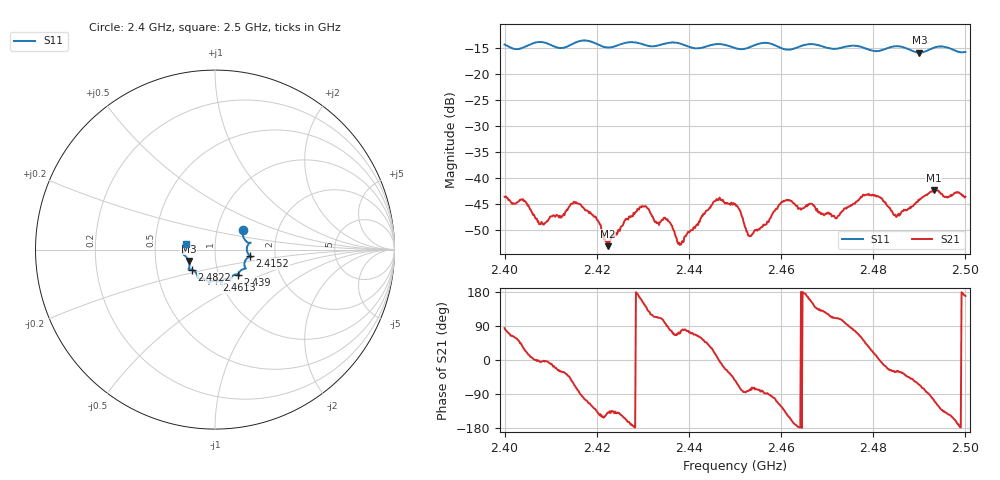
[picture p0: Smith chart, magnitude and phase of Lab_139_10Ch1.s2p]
# Hz S RI R 50
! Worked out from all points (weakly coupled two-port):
!   601 points, 2.4 GHz to 2.5 GHz, reference 50 ohm
!   highest |S21| = -42.28 dB at 2.4932 GHz (marker M1); lowest = -53.0 dB at 2.4223 GHz (marker M2)
!   lowest |S11| = -15.9 dB at 2.49 GHz (marker M3), VSWR 1.38, Z = 36.9 - j4.82 ohm
!   |S11| at or under -10 dB: start of sweep to end of sweep
!   S12 and S22 are empty: the file has one direction only
!   S11 on the Smith chart (normalised r, x): 2.4 GHz: 1.33, +0.31; 2.4152 GHz: 1.48, -0.11; 2.439 GHz: 1.24, -0.36; 2.4613 GHz: 0.96, -0.34; 2.4822 GHz: 0.75, -0.17; 2.5 GHz: 0.72, +0.05
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2.4e9  0.1562 0.1112  0.000673 0.0066  0 0  0 0
2.404167e9  0.1738 0.0465  0.0052 0.00308  0 0  0 0
2.408e9  0.1983 0.0393  0.00381 -0.000236  0 0  0 0
2.415167e9  0.1946 -0.036  0.00229 -0.00546  0 0  0 0
2.416667e9  0.2043 -0.0418  -0.000248 -0.00546  0 0  0 0
2.422333e9  0.1675 -0.0635  -0.00168 -0.00147  0 0  0 0
2.429833e9  0.1606 -0.1076  -0.00494 0.00224  0 0  0 0
2.433333e9  0.1329 -0.1325  -0.00137 0.00351  0 0  0 0
2.439e9  0.1282 -0.1393  0.000486 0.00269  0 0  0 0
2.445667e9  0.0843 -0.173  0.00582 0.00174  0 0  0 0
2.45e9  0.0686 -0.1635  0.00336 -0.0046  0 0  0 0
2.453333e9  0.037 -0.1777  0.00064 -0.00274  0 0  0 0
2.461333e9  0.00791 -0.1707  -0.0051 -0.00355  0 0  0 0
2.466667e9  -0.0332 -0.1903  -0.00504 0.00266  0 0  0 0
2.471833e9  -0.0635 -0.1623  -0.00148 0.00387  0 0  0 0
2.478167e9  -0.0974 -0.1476  0.00463 0.00508  0 0  0 0
2.482167e9  -0.1285 -0.1121  0.00591 -0.0012  0 0  0 0
2.483333e9  -0.1399 -0.1103  0.00484 -0.00212  0 0  0 0
2.485333e9  -0.1479 -0.1104  0.00389 -0.00209  0 0  0 0
2.49e9  -0.1471 -0.0636  0.00257 -0.0056  0 0  0 0
2.493167e9  -0.1763 -0.0268  -0.00211 -0.00739  0 0  0 0
2.5e9  -0.1588 0.034  -0.00653 0.00128  0 0  0 0
